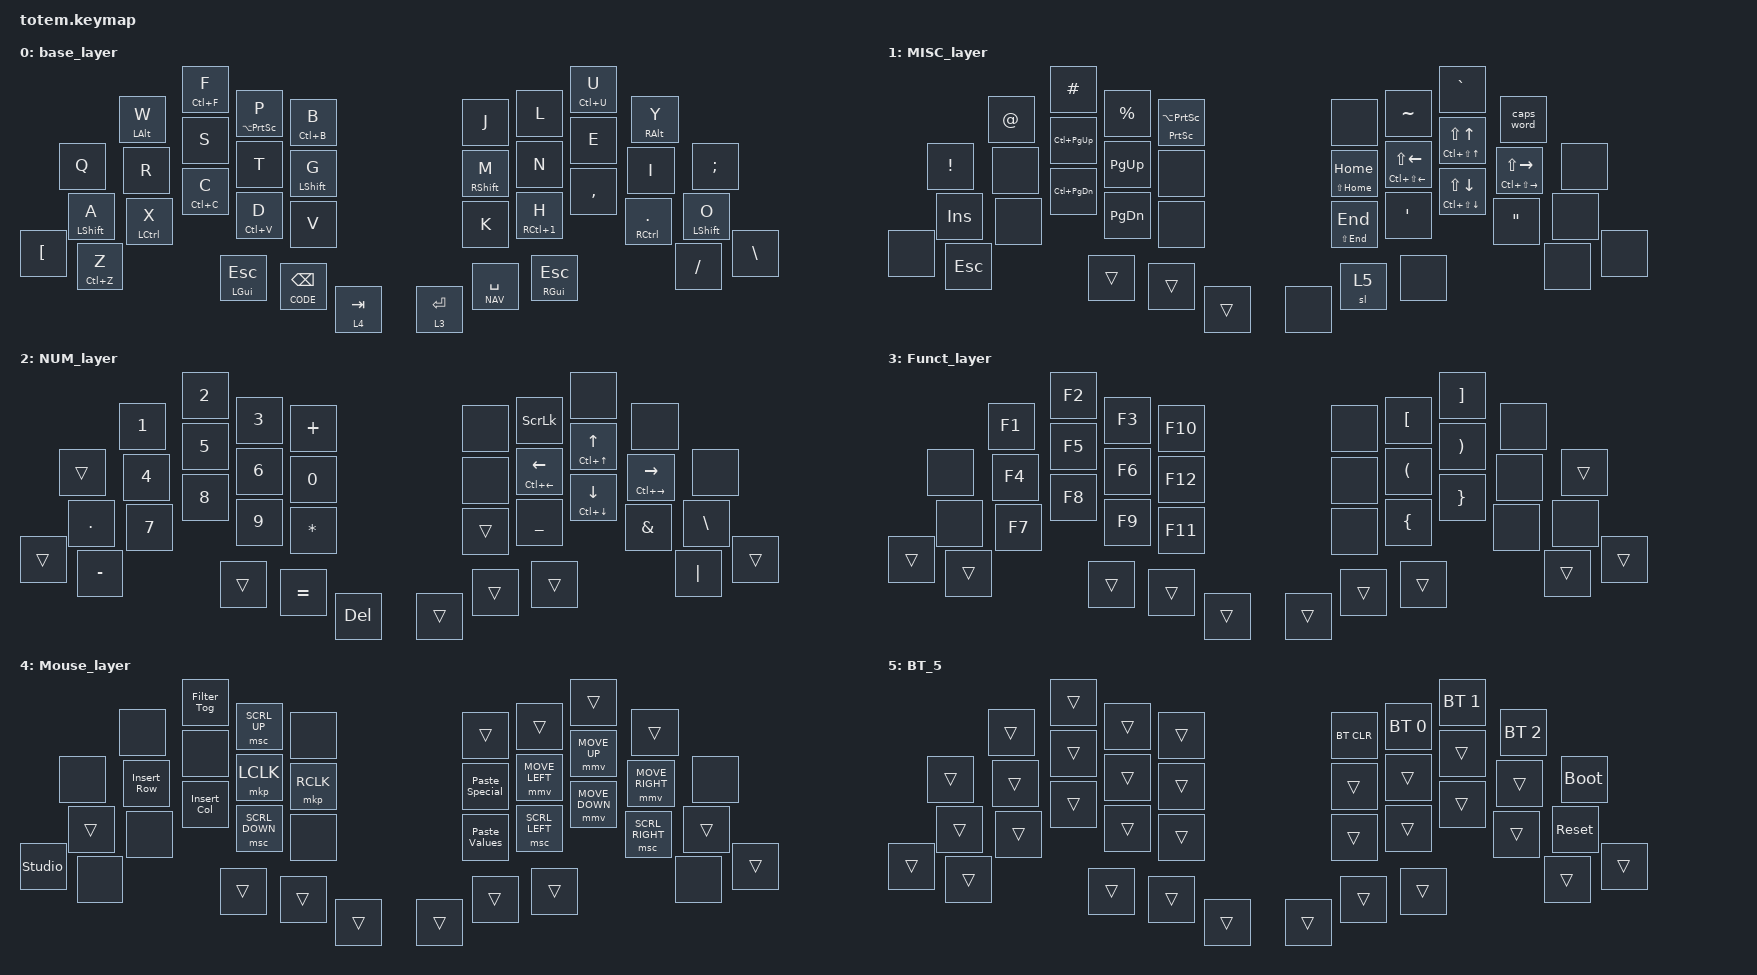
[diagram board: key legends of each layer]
#include <input/processors.dtsi> // Required to define zip_xy_scaler Mouse Accelerator
#include <behaviors.dtsi>
#include <dt-bindings/zmk/bt.h>
#include <dt-bindings/zmk/keys.h>
#include <dt-bindings/zmk/pointing.h>

#define ZMK_POINTING_DEFAULT_MOVE_VAL 1000
#define ZMK_POINTING_DEFAULT_SCRL_VAL 20
#define BASE 0
#define CODE 1
#define NAV  2
#define MOD  3
#define ADJ  4

/ {
    behaviors {
        hml: homerow_mods_left {
            compatible = "zmk,behavior-hold-tap";
            #binding-cells = <2>;
            tapping-term-ms = <200>;
            quick-tap-ms = <175>;
            require-prior-idle-ms = <150>;
            flavor = "balanced";
            bindings = <&kp>, <&kp>;

            // only fire the mod when chorded with an opposite-hand (right) key

            hold-trigger-key-positions = <5 6 7 8 9 15 16 17 18 19 26 27 28 29 30 31 35 36 37>;
        };

        hmr: homerow_mods_right {
            compatible = "zmk,behavior-hold-tap";
            #binding-cells = <2>;
            tapping-term-ms = <200>;
            quick-tap-ms = <175>;
            require-prior-idle-ms = <150>;
            flavor = "balanced";
            bindings = <&kp>, <&kp>;

            // only fire the mod when chorded with an opposite-hand (left) key

            hold-trigger-key-positions = <0 1 2 3 4 10 11 12 13 14 20 21 22 23 24 25 32 33 34>;
        };

        td_bs_pipe: backslash_pipe {
            compatible = "zmk,behavior-hold-tap";
            #binding-cells = <2>;
            tapping-term-ms = <200>;
            flavor = "tap-preferred";
            bindings = <&kp>, <&kp>;
        };
    };

    combos {
        compatible = "zmk,combos";

        Mac_Refresh {
            timeout-ms = <50>;
            key-positions = <0 1>;
            bindings = <&kp LG(R)>;
            layers = <0>;
        };

        Mac_Pwd {
            timeout-ms = <50>;
            key-positions = <0 21>;
            bindings = <&pwd_mac>;
            slow-release;
            layers = <0>;
        };

        Ctrl+Alt+Del {
            timeout-ms = <50>;
            key-positions = <9 30>;
            bindings = <&kp LC(LA(DEL))>;
            layers = <0>;
        };

        SSB_Pwd {
            bindings = <&pwd_SSB>;
            key-positions = <8 29>;
        };

        SSB_Logon {
            bindings = <&SSB_ID>;
            key-positions = <7 28>;
        };
    };

    macros {
        SSB_ID: mac_lock_screen {
            compatible = "zmk,behavior-macro";
            #binding-cells = <0>;
            bindings =
                <&macro_tap>,
                <&kp E &kp NUMBER_4 &kp NUMBER_1 &kp NUMBER_2 &kp N0 &kp N9 &kp N3>;
        };

        pwd_SSB: win_lock_screen {
            compatible = "zmk,behavior-macro";
            #binding-cells = <0>;
            bindings =
                <&macro_tap>,
                <&kp LS(L) &kp O &kp R &kp O &kp N2 &kp N0 &kp P &kp I &kp A &kp N &kp A &kp EXCL &kp EXCL>;
        };

        Filter_Tog: Filter_Tog {
            compatible = "zmk,behavior-macro";
            #binding-cells = <0>;
            bindings = <&kp LA(D) &kp F &kp F>;
            label = "FILTER_TOG";
        };

        pwd_mac: pwd_mac {
            compatible = "zmk,behavior-macro";
            #binding-cells = <0>;
            bindings =
                <&macro_tap_time 75>,
                <&kp N2 &kp N9 &kp N9 &kp N7 &kp N9 &kp N2 &kp N4 &kp N5 &kp N8>;

            label = "PWD_MAC";
        };

        Insert_Row: Insert_Row {
            compatible = "zmk,behavior-macro";
            #binding-cells = <0>;
            bindings = <&kp LA(I) &kp R>;
            label = "INSERT_ROW";
        };

        Insert_Col: Insert_Col {
            compatible = "zmk,behavior-macro";
            #binding-cells = <0>;
            bindings = <&kp LA(I) &kp C>;
            label = "INSERT_COL";
        };

        Paste_Values: Paste_Values {
            compatible = "zmk,behavior-macro";
            #binding-cells = <0>;
            bindings = <&kp LA(E) &kp S &kp V>;
            label = "PASTE_VALUES";
        };

        Paste_Special: Paste_Special {
            compatible = "zmk,behavior-macro";
            #binding-cells = <0>;
            bindings = <&kp LA(E) &kp S &kp V>;
            label = "PASTE_SPECIAL";
        };

        SSB_Pin: SSB_Pin {
            compatible = "zmk,behavior-macro";
            #binding-cells = <0>;
            bindings = <&kp TAB &kp N7 &kp N2 &kp N3 &kp N4 &kp N5>;
            label = "SSB_PIN";
        };

        ASG_Logon: ASG_Logon {
            compatible = "zmk,behavior-macro";
            #binding-cells = <0>;
            bindings = <&SSB_ID &kp TAB &pwd_SSB &Corp &SSB_Pin>;
            label = "ASG_LOGON";
        };

        Corp: Corp {
            compatible = "zmk,behavior-macro";
            #binding-cells = <0>;
            bindings = <&kp TAB &kp C>;
            label = "CORP";
        };

        IMT_Logon: IMT_Logon {
            compatible = "zmk,behavior-macro";
            #binding-cells = <0>;
            bindings = <&SSB_ID &SSB_Pin>;
            label = "IMT_LOGON";
        };

        accel_up: accel_up {
            compatible = "zmk,behavior-macro";
            #binding-cells = <0>;
            bindings =
                <&mmv MOVE_UP>,
                <&macro_wait_time 50>,
                <&mmv MOVE_UP &mmv MOVE_UP>;

            label = "ACCEL_UP";
        };
    };

    keymap {
        compatible = "zmk,keymap";

        base_layer {
            bindings = <
          &kp Q             &mt LALT W          &mt LC(F) F       &mt LA(PRINTSCREEN) P  &mt LC(B) B         &kp J              &kp L               &mt LC(U) U        &mt RIGHT_ALT Y           &kp SEMICOLON
          &mt LEFT_SHIFT A  &kp R               &kp S             &kp T                  &mt LEFT_SHIFT G    &mt RIGHT_SHIFT M  &kp N               &kp E              &kp I                     &mt LEFT_SHIFT O
&kp LBKT  &mt LC(Z) Z       &mt LEFT_CONTROL X  &mt LC(C) C       &mt LC(V) D            &kp V               &kp K              &mt RC(NUMBER_1) H  &kp COMMA          &mt RIGHT_CONTROL PERIOD  &kp FSLH          &kp BACKSLASH
                                                &mt LEFT_GUI ESC  &lt CODE BSPC          &lt 4 TAB           &lt 3 ENTER        &lt NAV SPACE       &mt RIGHT_GUI ESC
            >;
        };

        MISC_layer {
            bindings = <
       &kp EXCLAMATION  &kp AT  &kp HASH           &kp PERCENT    &mt PRINTSCREEN LA(PRINTSCREEN)    &none              &kp TILDE                              &kp GRAVE                          &caps_word                         &none
       &kp INS          &none   &kp LC(PG_UP)      &kp PAGE_UP    &none                              &mt LS(HOME) HOME  &mt LC(LS(LEFT_ARROW)) LS(LEFT_ARROW)  &mt LC(LS(UP_ARROW)) LS(UP_ARROW)  &mt LC(LS(RIGHT_ARROW)) LS(RIGHT)  &none
&none  &kp ESCAPE       &none   &kp LC(PAGE_DOWN)  &kp PAGE_DOWN  &none                              &mt LS(END) END    &kp SQT                                &mt LC(LS(DOWN)) LS(DOWN)          &kp DOUBLE_QUOTES                  &none  &none
                                &trans             &trans         &trans                             &none              &sl 5                                  &none
            >;
        };

        NUM_layer {
            bindings = <
        &trans      &kp NUMBER_1  &kp NUMBER_2  &kp NUMBER_3  &kp PLUS        &none   &kp SCROLLLOCK     &none                      &none                &none
        &kp PERIOD  &kp NUMBER_4  &kp NUMBER_5  &kp NUMBER_6  &kp NUMBER_0    &none   &mt LC(LEFT) LEFT  &mt LC(UP_ARROW) UP_ARROW  &mt LC(RIGHT) RIGHT  &kp BACKSLASH
&trans  &kp MINUS   &kp NUMBER_7  &kp NUMBER_8  &kp NUMBER_9  &kp ASTERISK    &trans  &kp UNDERSCORE     &mt LC(DOWN) DOWN_ARROW    &kp AMPS             &kp PIPE       &trans
                                  &trans        &kp EQUAL     &kp DEL         &trans  &trans             &trans
            >;
        };

        Funct_layer {
            bindings = <
        &none   &kp F1  &kp F2  &kp F3  &kp F10    &none   &kp LEFT_BRACKET      &kp RIGHT_BRACKET      &none  &trans
        &none   &kp F4  &kp F5  &kp F6  &kp F12    &none   &kp LEFT_PARENTHESIS  &kp RIGHT_PARENTHESIS  &none  &none
&trans  &trans  &kp F7  &kp F8  &kp F9  &kp F11    &none   &kp LEFT_BRACE        &kp RIGHT_BRACE        &none  &trans  &trans
                        &trans  &trans  &trans     &trans  &trans                &trans
            >;
        };

        Mouse_layer {
            bindings = <
                &none   &none        &Filter_Tog  &msc SCRL_UP    &none        &trans          &trans          &trans          &trans           &none
                &trans  &Insert_Row  &none        &mkp LCLK       &mkp RCLK    &Paste_Special  &mmv MOVE_LEFT  &mmv MOVE_UP    &mmv MOVE_RIGHT  &trans
&studio_unlock  &none   &none        &Insert_Col  &msc SCRL_DOWN  &none        &Paste_Values   &msc SCRL_LEFT  &mmv MOVE_DOWN  &msc SCRL_RIGHT  &none   &trans
                                     &trans       &trans          &trans       &trans          &trans          &trans
            >;
        };

        BT_5 {
            bindings = <
        &trans  &trans  &trans  &trans  &trans    &bt BT_CLR  &bt BT_SEL 0  &bt BT_SEL 1  &bt BT_SEL 2  &bootloader
        &trans  &trans  &trans  &trans  &trans    &trans      &trans        &trans        &trans        &sys_reset
&trans  &trans  &trans  &trans  &trans  &trans    &trans      &trans        &trans        &trans        &trans       &trans
                        &trans  &trans  &trans    &trans      &trans        &trans
            >;
        };
    };
};

&sk {
    release-after-ms = <2000>;
    quick-release;
};
